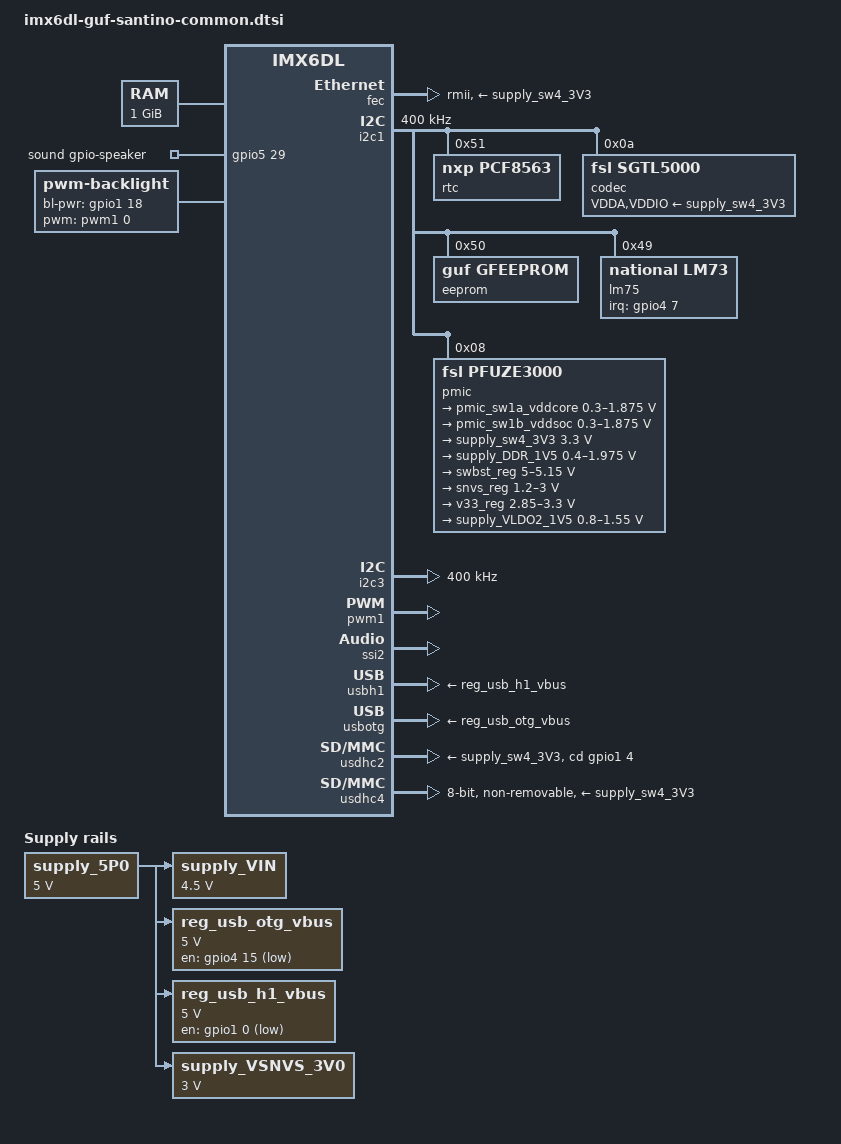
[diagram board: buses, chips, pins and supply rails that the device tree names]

/* From sabresd dtsi
 *	#include "imx6qdl-sabresd.dtsi"
 */
/ {
	aliases {
		mxcfb0 = &mxcfb1;
		i2c0 = &i2c1;
		i2c1 = &i2c2;
		i2c2 = &i2c3;
	};

	memory {
		reg = <0x10000000 0x40000000>;
	};

	leds {
		compatible = "gpio-leds";
	};

	gpioexport:gpio-export{
		compatible = "gpio-of-export";

	};

	pnglogo{
		compatible = "guf,png-logo";
		guf,logo-license = <0>;
		rotation = <0>;
	};

	clk_12mhz_ref:clk_12mhz_ref {
		compatible = "fixed-factor-clock";

		clocks = <&clks 201>;
		clock-names = "cko";
		clock-div = <1>;
		clock-mult = <1>;

		#clock-cells = <0>;
		clock-output-names = "ck12mhzref";

	};

	regulators:regulators {
		compatible = "simple-bus";

		supply_5P0: 5P0_supply {
			compatible = "regulator-fixed";
			regulator-name = "5P0";
			regulator-min-microvolt = <5000000>;
			regulator-max-microvolt = <5000000>;
			regulator-always-on;
		};

		supply_VIN: VIN_supply {
			compatible = "regulator-fixed";
			regulator-name = "VIN";
			regulator-min-microvolt = <4500000>;
			regulator-max-microvolt = <4500000>;
			regulator-always-on;
			vin-supply = <&supply_5P0>;
		};

		reg_usb_otg_vbus: usb_otg_vbus {
			compatible = "regulator-fixed";
			regulator-name = "usb_otg_vbus";
			regulator-min-microvolt = <5000000>;
			regulator-max-microvolt = <5000000>;
			gpio = <&gpio4 15 0>;
			enable-active-low;
			vin-supply = <&supply_5P0>;
			pinctrl-names = "default";
			pinctrl-0 = <&pinctrl_usb_otg_vbus_2>;
		};

		reg_usb_h1_vbus: usb_h1_vbus {
			compatible = "regulator-fixed";
			regulator-name = "usb_h1_vbus";
			regulator-min-microvolt = <5000000>;
			regulator-max-microvolt = <5000000>;
			gpio = <&gpio1 0 0>;
			enable-active-low;
			vin-supply = <&supply_5P0>;
			pinctrl-names = "default";
			pinctrl-0 = <&pinctrl_usb_h1_vbus_1>;
		};

		supply_VSNVS_3V0: VSNVS_3V0_supply {
			compatible = "regulator-fixed";
			regulator-name = "VSNVS_3V0";
			regulator-min-microvolt = <3000000>;
			regulator-max-microvolt = <3000000>;
			regulator-always-on;
			vin-supply = <&supply_5P0>;
		};
	};

	sound {
		compatible = "fsl,imx6-santaro-sgtl5000", "fsl,imx-audio-sgtl5000";
		model = "sgtl5000-audio";
		ssi-controller = <&ssi2>;
		audio-codec = <&codec>;
		audio-routing =
			"MIC_IN", "Mic Jack",
			"Mic Jack", "Mic Bias",
			"Headphone Jack", "HP_OUT";
		mux-int-port = <2>;
		mux-ext-port = <4>;
		gpio-speaker = <&gpio5 29 0>;

		pinctrl-names = "default";
		pinctrl-0 = <&pinctrl_sound_1>; 	
	};

	mxcfb1: fb@0 {
		compatible = "fsl,mxc_sdc_fb";
		disp_dev = "lcd";
		interface_pix_fmt = "RGB666";
		mode_str = "LDB-GUF-Ampire-AM800480R3TMQW";
		default_bpp = <16>;
		int_clk = <0>;
		late_init = <0>;
		status = "disabled";
	};

	backlight: backlight {
		compatible = "pwm-backlight";
		pwms = <&pwm1 0 50000>;
		brightness-levels = <0 40 80 160 320 640 1280 2550>;
		default-brightness-level = <7>;
		default-blank = <1>;

		pinctrl-names = "default";
		pinctrl-0 = <&pinctrl_backlight_santino>;
		bl-pwr-gpio = <&gpio1 18 0>;
		bl-pwr-act-low = <0>;
		sysfs-name = "pwm-backlight.0";
	};
};

&anatop_vdd1p1 {
		vin-supply = <&supply_VSNVS_3V0>;
};
&anatop_vdd3p0 {
		vin-supply = <&reg_usb_h1_vbus>;
};
&anatop_vdd2p5 {
		vin-supply = <&supply_VSNVS_3V0>;
};

&gpio4 {
	gpio-default-label = "gpio-%d";
	gpio-label-10 = "clear_all";
};
&gpio5 {
	gpio-default-label = "gpio-%d";
	gpio-label-28 = "mdb_wakeup_out";
	gpio-label-18 = "led";
};
&gpio6 {
	gpio-default-label = "gpio-%d";
	gpio-label-7 = "keypad_pin3";
	gpio-label-8 = "keypad_pin4";
	gpio-label-9 = "keypad_pin5";
	gpio-label-10 = "keypad_pin6";
	gpio-label-11 = "keypad_pin7";
	gpio-label-15 = "keypad_pin8";
};

&gpioexport {
	/* Third gpio option are the flags, with custom meaning. */
	/*   bit 1   act-low	*/
	/*   bit 2   init high	*/

	gpio-grp-keypad_changeable {
		pinctrl-names = "default";
		pinctrl-0 = <&pinctrl_gpio_export_keypad_gpio_changeable>;
		direction-changeable;
		direction-input;
		
		/* Sysfs kp gpios with changeable direction */
		gpios =	
				<&gpio6 8 0>,	/*  KP_PIN_3 */
				<&gpio6 7 0>,	/*  KP_PIN_4 */
				<&gpio6 9 0>,	/*  KP_PIN_5 */
				<&gpio6 10 0>,	/*  KP_PIN_6 */
				<&gpio6 11 0>,	/*  KP_PIN_7 */
				<&gpio6 15 0>;	/*  KP_PIN_8 */

		status = "okay";
	};

	gpio-grp-keypad_fixed_in_santino {
		pinctrl-names = "default";
		pinctrl-0 = <&pinctrl_gpio_export_gpio_fixed_in_santino>;
		direction-not-changeable;
		direction-input;
		
		gpios = <&gpio4 10 1>;	/* CLEAR_ALL */

		status = "okay";
	};

	gpio-grp-keypad_fixed_out_santino {
		pinctrl-names = "default";
		pinctrl-0 = <&pinctrl_gpio_export_gpio_fixed_out_santino>;
		direction-not-changeable;
		direction-output;
		
		gpios = <&gpio5 18 2>;  /*  LED1 */

		status = "okay";
	};
};

&sdma {
	iram = <&ocram>;
};

&cpu0 {
	arm-supply = <&pmic_sw1a_vddcore>;
	soc-supply = <&pmic_sw1b_vddsoc>;
	pu-supply = <&pu_dummy>; /* use pu_dummy if VDDSOC share with VDDPU */
};

&fec {
	pinctrl-names = "default";
	pinctrl-0 = <&pinctrl_enet_4>;
	phy-mode = "rmii";
	status = "okay";
	local-mac-address = [00 07 8E 14 72 F8]; 
	phy-supply = <&supply_sw4_3V3>;
};

&gpc {
	fsl,cpu_pupscr_sw2iso = <0xf>;
	fsl,cpu_pupscr_sw = <0xf>;
	fsl,cpu_pdnscr_iso2sw = <0x1>;
	fsl,cpu_pdnscr_iso = <0x1>;
	fsl,ldo-bypass = <1>; /* use ldo-bypass, */
	fsl,wdog-reset = <1>; /* watchdog select of reset source */
	fsl,wdog-reset-srs = <0>; /* watchdog triggers the software reset */
	fsl,wdog-reset-wdog-b = <1>; /* watchdog triggers the external wdog reset */
	pu-supply = <&pu_dummy>; /* ldo-bypass:use pu_dummy if VDDSOC share with VDDPU */
};

&gpu {
	pu-supply = <&pu_dummy>; /* ldo-bypass:use pu_dummy if VDDSOC share with VDDPU */
};

&pu_dummy {
	regulator-always-on;
};

&sdma {
	fsl,sdma-ram-script-name = "imx/sdma/sdma-imx6q-to1.bin";
};

&i2c1 {
	clock-frequency = <400000>;
	pinctrl-names = "default", "gpio";
	pinctrl-0 = <&pinctrl_i2c1_2>;
	pinctrl-1 = <&pinctrl_i2c1_2_gpio>;
	status = "okay";

	gpio-scl = <&gpio5 26 0>;
	gpio-sda = <&gpio5 27 0>;

	rtc: rtcpcf8563@51 {
		compatible = "nxp,pcf8563";
		reg = <0x51>;

		pinctrl-names = "default";
		pinctrl-0 = <&pinctrl_rtc>;

		/*irq-gpio = <&gpio4 8 0>; *//* Not implemented ? */ 
	};

	codec: sgtl5000@0a {
		compatible = "fsl,sgtl5000";
		reg = <0x0a>;

		clocks = <&clks 201>;
		clock-names = "cko";

		VDDA-supply = <&supply_sw4_3V3>;
		VDDIO-supply = <&supply_sw4_3V3>;
	};

	eeprom: eeprom@50 {
		compatible = "guf,gfeeprom";
		reg = <0x50>;
		pagesize = <32>;
		bytelen = <4096>;
		bus-id = <0>;
		flags = <0x80>;		/* AT24_FLAG_ADDR16 */
	};

	lm75: lm75@49 {
		compatible = "national,lm73";
		reg = <0x49>;

		interrupts = <7 0x4>; 
		interrupt-parent = <&gpio4>;

		pinctrl-names = "default";
		pinctrl-0 = <&pinctrl_lm75_1>;
	};

	pmic: pfuze3000@08 {
		compatible = "fsl,pfuze3000";
		reg = <0x08>;

		regulators {
			pmic_sw1a_vddcore: sw1a {
				regulator-name = "VDD_CORE (sw1a)";
				regulator-min-microvolt = <300000>;
				regulator-max-microvolt = <1875000>;
				regulator-boot-on;
				regulator-always-on;
				regulator-ramp-delay = <6250>;

				default-voltage = <1375000>;
				
				vin-supply = <&supply_VIN>;
			};

			pmic_sw1b_vddsoc: sw1b {
				regulator-name = "VDD_SOC (sw1b)";
				regulator-min-microvolt = <300000>;
				regulator-max-microvolt = <1875000>;
				regulator-boot-on;
				regulator-always-on;
				regulator-ramp-delay = <6250>;

				default-voltage = <1375000>;

				vin-supply = <&supply_VIN>;
			};

			supply_sw4_3V3: sw2 {
				regulator-name = "SW4_3V3 (sw2)";
				regulator-min-microvolt = <3300000>;
				regulator-max-microvolt = <3300000>;
				regulator-boot-on;
				regulator-always-on;

				default-voltage = <3300000>;
				vin-supply = <&supply_VIN>;
			};

			supply_DDR_1V5: sw3b {
				regulator-name = "DDR_1V5 (sw3)";
				regulator-min-microvolt = <400000>;
				regulator-max-microvolt = <1975000>;
				regulator-boot-on;
				regulator-always-on;

				default-voltage = <1500000>;
				vin-supply = <&supply_VIN>;
			};

			swbst_reg: swbst {
				status = "disabled";
				regulator-min-microvolt = <5000000>;
				regulator-max-microvolt = <5150000>;
				regulator-boot-on;
				regulator-always-on;

				default-voltage = <5000000>;
				vin-supply = <&supply_VIN>;
			};

			snvs_reg: vsnvs {
				regulator-min-microvolt = <1200000>;
				regulator-max-microvolt = <3000000>;
				regulator-boot-on;
				regulator-always-on;

				default-voltage = <3000000>;
				vin-supply = <&supply_VIN>;
			};

			vref_reg: vrefddr {
				regulator-boot-on;
				regulator-always-on;

				default-voltage = <750000>;
				vin-supply = <&supply_DDR_1V5>;
			};

			v33_reg: v33 {
				regulator-min-microvolt = <2850000>;
				regulator-max-microvolt = <3300000>;
				regulator-always-on;
				regulator-boot-on;

				default-voltage = <3300000>;
				vin-supply = <&supply_VIN>;
			};

			supply_VLDO2_1V5: vldo2 {
				regulator-min-microvolt = <800000>;
				regulator-max-microvolt = <1550000>;
				regulator-always-on;
				regulator-boot-on;

				default-voltage = <1200000>;
				vin-supply = <&v33_reg>;
			};
		};
	};
};

&i2c3 {
	clock-frequency = <400000>;
	pinctrl-names = "default", "gpio";
	pinctrl-0 = <&pinctrl_i2c3_5>;
	pinctrl-1 = <&pinctrl_i2c3_5_gpio>;
	status = "okay";

	gpio-scl = <&gpio1 5 0>;
	gpio-sda = <&gpio1 6 0>;
	
	eetii2c: eetii2c@04 {
		compatible = "eeti,eetii2c_ts";
		reg = <0x04>;

		pinctrl-names = "default";
		pinctrl-0 = <&pinctrl_ctouch>;

		reset-gpio = <&gpio1 20 0>;
		irq-gpio = <&gpio4 6 0>;
		irq-flags = <0x00000004>;  /* IRQF_TRIGGER_HIGH */

		status = "disabled";  /* will be enabled from the guf xml setting */
	};

	egalaxi2c: egalaxi2c@2a {
		compatible = "eeti,exc3000_ts";
		reg = <0x2a>;

		pinctrl-names = "default";
		pinctrl-0 = <&pinctrl_ctouch>;

		reset-gpio = <&gpio1 20 0>;
		irq-gpio = <&gpio4 6 0>;
		irq-flags = <0x00000004>;  /* IRQF_TRIGGER_HIGH */

		status = "disabled";  /* will be enabled from the guf xml setting */
	};


	pixcir: pixcir@5c {
		compatible = "auo,auo_pixcir_ts";
		reg = <0x5c>;

		pinctrl-names = "default";
		pinctrl-0 = <&pinctrl_ctouch>;

		interrupts = <6 0x2>; /* In the gpio4 interupt controller pin 6 irq is used, 0x2 = high-to-low-edge*/
		interrupt-parent = <&gpio4>;

		gpios = 
				<&gpio4 6 0>,  /* irq */
				<&gpio1 20 0>;  /* reset */
		x-size = <1024>;
		y-size = <600>;

		int-setting = <0>; /* AUO_PIXCIR_INT_PERIODICAL */

		status = "disabled";  /* will be enabled from the guf xml setting */
	};

	edt_ft5x06: edt_ft5x06@38 {
		compatible = "edt,ft5x06";
		reg = <0x38>;

		pinctrl-names = "default";
		pinctrl-0 = <&pinctrl_ctouch>;

		interrupts = <6 0x2>; /* In the gpio4 interupt controller pin 6 irq is used, 0x2 = high-to-low-edge*/
		interrupt-parent = <&gpio4>;

		reset-gpio = <&gpio1 20 0>;
		irq-gpio = <&gpio4 6 0>;

		status = "disabled";  /* will be enabled from the guf xml setting */
	};

	stmpe610: stmpe610@44 {
		compatible = "st,stmpe610";
		reg = <0x44>;
		interrupts = <11 0x8>; /* In the gpio4 interupt controller pin 11 irq is used, 0x8 = active low level-sensitive*/
		interrupt-parent = <&gpio4>;
		interrupt-controller;

		pinctrl-names = "default";
		pinctrl-0 = <&pinctrl_rtouch>;

		status = "disabled"; /* will be enabled from the guf xml setting */
	
		stmpe_touchscreen {
			compatible = "st,stmpe-ts";
			st,sample-time = <4>;
			st,mod-12b = <1>;
			st,ref-sel = <0>;
			st,adc-freq = <1>;
			st,ave-ctrl = <3>;
			st,touch-det-delay = <3>;
			st,settling = <3>;
			st,fraction-z = <7>;
			st,i-drive = <0>;
		};
	};
	
	sx8654: sx8654@48 { /* This is a resitive touch for with its own touch controller */
		compatible = "semtech,sx8654";
		reg = <0x48>;
		pinctrl-names = "default";
		pinctrl-0 = <&pinctrl_ctouch>;

		interrupts = <6 0x2>; /* In the gpio4 interupt controller pin 6 irq is used, 0x2 = high-to-low-edge*/
		interrupt-parent = <&gpio4>;

		reset-gpio = <&gpio1 20 0>;
		irq-gpio = <&gpio4 6 0>;

		status = "disabled";  /* will be enabled from the guf xml setting */
	};

	sisi2c: sisi2c@5c {
		compatible = "sis,sisi2c";
		reg = <0x5c>;

		pinctrl-names = "default";
		pinctrl-0 = <&pinctrl_ctouch>;

		interrupts = <6 0x2>; /* In the gpio4 interupt controller pin 6 irq is used, 0x2 = high-to-low-edge*/
		interrupt-parent = <&gpio4>;

		reset-gpio = <&gpio1 20 0>;
		irq-gpio = <&gpio4 6 0>;

		status = "disabled";  /* will be enabled from the guf xml setting */
	};
};

&iomuxc {
	pinctrl-names = "default";
	pinctrl-0 = <&pinctrl_hog_1 &pinctrl_pfid_0_2 &pinctrl_pfid_5_7>;

	wdog1 {
		pinctrl_wdog1_1: wdoggrp-1 {
			fsl,pins = <
				MX6QDL_PAD_GPIO_9__WDOG1_B 0x80000000
			>;
		};
	};

	pfid {
		pinctrl_pfid_3_4: pfid_3_4_grp {
			fsl,pins = <
				MX6QDL_PAD_NANDF_D3__GPIO2_IO03  0x80000000
				MX6QDL_PAD_NANDF_D4__GPIO2_IO04  0x80000000
			>;
		};
		pinctrl_pfid_0_2: pfid_0_2_grp {
			fsl,pins = <
				MX6QDL_PAD_NANDF_D0__GPIO2_IO00  0x80000000
				MX6QDL_PAD_NANDF_D1__GPIO2_IO01  0x80000000
				MX6QDL_PAD_NANDF_D2__GPIO2_IO02  0x80000000
			>;
		};
		pinctrl_pfid_5_7: pfid_5_7_grp {
			fsl,pins = <
				MX6QDL_PAD_NANDF_D5__GPIO2_IO05  0x80000000
				MX6QDL_PAD_NANDF_D6__GPIO2_IO06  0x80000000
				MX6QDL_PAD_NANDF_D7__GPIO2_IO07  0x80000000
			>;
		};
	};

	gpio_export {
		pinctrl_gpio_export_keypad_gpio_changeable: pinctrl_gpio_kpgrp-2 {
			fsl,pins = <
				MX6QDL_PAD_NANDF_ALE__GPIO6_IO08	0x80000000			/* KP_PIN_3 */
				MX6QDL_PAD_NANDF_CLE__GPIO6_IO07	0x80000000			/* KP_PIN_4 */
				MX6QDL_PAD_NANDF_WP_B__GPIO6_IO09	0x80000000			/* KP_PIN_5 */
				MX6QDL_PAD_NANDF_RB0__GPIO6_IO10	0x80000000			/* KP_PIN_6 */
				MX6QDL_PAD_NANDF_CS0__GPIO6_IO11	0x80000000			/* KP_PIN_7 */
				MX6QDL_PAD_NANDF_CS2__GPIO6_IO15	0x80000000			/* KP_PIN_8 */
			>;
		};
		pinctrl_gpio_export_gpio_fixed_in_santino: pinctrl_gpio_kpgrp-4 {
			fsl,pins = <
				MX6QDL_PAD_KEY_COL2__GPIO4_IO10		0x80000000			/* CLEAR ALL */
			>;
		};
		pinctrl_gpio_export_gpio_fixed_out_santino: pinctrl_gpio_kpgrp-5 {
			fsl,pins = <
				MX6QDL_PAD_CSI0_PIXCLK__GPIO5_IO18	0x80000000			/* LED1 */
			>;
		};
	};

	ctouch {
		pinctrl_ctouch: ctouch-grp-1{
			fsl,pins = <
				MX6QDL_PAD_KEY_COL0__GPIO4_IO06		0x80000000			/* CTOUCH_INT */
				MX6QDL_PAD_SD1_CLK__GPIO1_IO20		0x80000000			/* CTOUCH_RESET */
			>;
		};
	};

	rtouch {
		pinctrl_rtouch: rtouch-grp-1 {
			fsl,pins = <
				MX6QDL_PAD_KEY_ROW2__GPIO4_IO11		0x80000000			/* ResTOUCH_INT */
			>;
		};
	};

	rtc {
		pinctrl_rtc: rtc-grp-1 {
			fsl,pins = <
				MX6QDL_PAD_KEY_COL1__GPIO4_IO08		0x80000000			/* RTC INT */
			>;
		};
	};

	lm75 {
		pinctrl_lm75_1:lm75_grp-1 {
			fsl,pins = <
				MX6QDL_PAD_KEY_ROW0__GPIO4_IO07		0x80000000			/* TALERT */
			>;
		};
	};

	sound {
		pinctrl_sound_1: sound_grp-1 {
			fsl,pins = <
				MX6QDL_PAD_CSI0_DAT11__GPIO5_IO29	0x80000000			/* Speaker ON */
			>;
		};
	};

	backlight {
		pinctrl_backlight_santino: backlightgrp-santino-1 {
			fsl,pins = <
				MX6QDL_PAD_SD1_CMD__GPIO1_IO18		0x80000000			/* BL_ON */
			>;
		};
	};

	/* System wide pin configs */
	hog {
		pinctrl_hog_1: hoggrp-1 {
			fsl,pins = <
				/* Clock out 12Mhz Ref */
				MX6QDL_PAD_CSI0_MCLK__CCM_CLKO1		0x17059  /* PAD_CTL_PKE | PAD_CTL_PUE | PAD_CTL_PUS_47K_UP | PAD_CTL_SPEED_LOW | PAD_CTL_DSE_80ohm | PAD_CTL_SRE_FAST | PAD_CTL_HYS */
															 /* (1 << 12)   | (1 << 13)   |(1 << 14)           | (1 << 6)          | (3 << 3)          |(1 << 0)          | (1 << 16)   */
			>;
		};
	};
};

&wdog1 {
	fsl,default-timeout = <60>;	/* Default timeout on seconds */
	fsl,reset-wdog-b = <1>;		/* watchdog triggers the external wdog reset */

	pinctrl-names = "default";
	pinctrl-0 = <&pinctrl_wdog1_1>;
};


&pwm1 {
	pinctrl-names = "default";
	pinctrl-0 = <&pinctrl_pwm1_1>;
	status = "okay";
};

&ssi2 {
	fsl,mode = "i2s-master";
	status = "okay";
};

&usbh1 {
	vbus-supply = <&reg_usb_h1_vbus>;
	status = "okay";
};

&usbotg {
	vbus-supply = <&reg_usb_otg_vbus>;
	disable-over-current;
	status = "okay";
};

/* sdcard */
&usdhc2 {
	pinctrl-names = "default";
	pinctrl-0 = <&pinctrl_usdhc2_2>;
	cd-gpios = <&gpio1 4 0>;
	no-1-8-v;
	keep-power-in-suspend;
	enable-sdio-wakeup;
	vmmc-supply = <&supply_sw4_3V3>;
	status = "okay";
};

/* emmc */
&usdhc4 {
	pinctrl-names = "default";
	pinctrl-0 = <&pinctrl_usdhc4_1>;
	bus-width = <8>;
	non-removable;
	no-1-8-v;
	keep-power-in-suspend;
	vmmc-supply = <&supply_sw4_3V3>;
	status = "okay";
};

&vpu {
	pu-supply = <&pu_dummy>; /* ldo-bypass: use pu_dummy if VDDSOC share with VDDPU */
};

&lcdif {
	ipu_id = <0>;
	disp_id = <0>;
	sec_ipu_id = <0>;
	ext_ref = <1>;
	mode = "sin0"; 
	sec_ipu_id = <0>;
	sec_disp_id = <1>;
	display = <&display1>;

	mapping = "SPWG";

	pinctrl-names = "default";
	pinctrl-0 = <&pinctrl_lcdif_1>;

	status = "disabled";

	display1: display1 {
		bits-per-pixel = <16>;
		bus-width = <24>;

		power-on-off-timings = <5 210 210  10 1000>;
		backlight = <&backlight>;
		lcd-enable-gpio = <&gpio5 21 0>;
		pinctrl-names = "default";
		pinctrl-0 = <&pinctrl_lcd_enable>;

		display-timings {
			native-mode = <&timing0>;
			timing0: timing0 {
				clock-frequency = <35339000>;
				hactive = <800>;
				vactive = <480>;
				hfront-porch = <100>;
				hback-porch = <100>;
				hsync-len = <24>;
				vback-porch = <5>;
				vfront-porch = <5>;
				vsync-len = <3>;

				fb-sync-flags = <0>;
			};
		};
	};
};

/* LDO mode section */
/*#include "imx6qdl-guf-ldo-mode.dtsi" */
